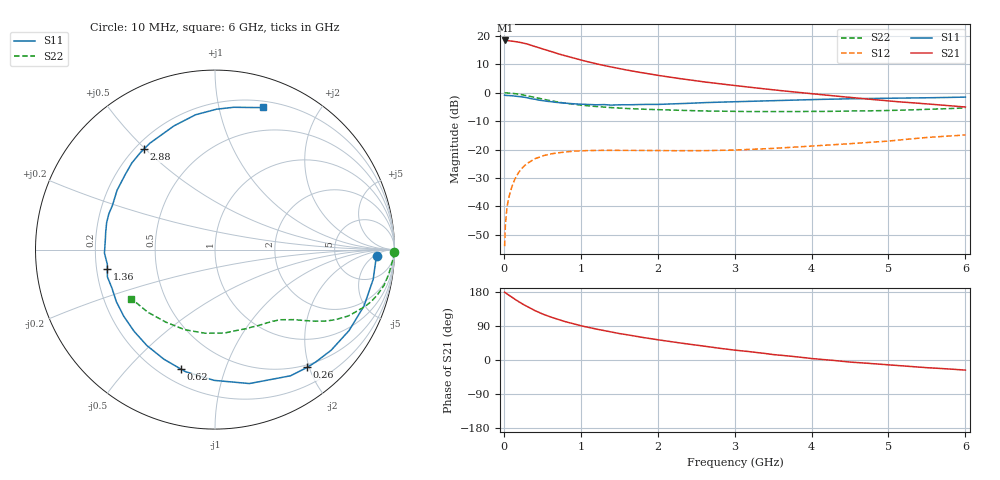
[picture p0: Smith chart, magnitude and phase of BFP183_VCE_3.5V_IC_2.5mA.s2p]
! Infineon Technologies  Discrete & RF Semiconductors
! BFP183
! VCE = 3.5 V,  IC =  2.5 mA
! Common Emitter S-Parameters:  Jan 2016
# GHz  S  MA  R  50
!  f  S11  S21  S12  S22
! GHz  MAG  ANG  MAG  ANG  MAG  ANG  MAG  ANG
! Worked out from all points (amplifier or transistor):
!   210 points, 10 MHz to 6 GHz, reference 50 ohm
!   highest |S21| = 18.4 dB at 20 MHz (marker M1)
!   |S21| within 3 dB of that: start of sweep to 506.2 MHz
!   unconditionally stable (mu >= 1): 1.977 GHz to 5.86 GHz
!   at 185 MHz: K = 0.11, MSG = 23.1 dB, |S12| = -28.4 dB
!   at 1.52 GHz: K = 0.78, MSG = 14.4 dB, |S12| = -20.3 dB
!   at 6 GHz: K = 0.96, MSG = 4.9 dB, |S12| = -14.9 dB
!   S11 on the Smith chart (normalised r, x): 10 MHz: 18, -7; 260 MHz: 0.46, -1.97; 620 MHz: 0.28, -0.72; 1.36 GHz: 0.24, -0.08; 2.88 GHz: 0.23, +0.50; 6 GHz: 0.26, +1.36
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0.01  0.9055 -2.1  8.29 178.8  0.002 85.9  0.9965 -0.8
0.02  0.8977 -4.1  8.297 177.8  0.0045 87.0  0.9967 -1.6
0.06  0.8928 -12.6  8.213 171.8  0.0133 83.9  0.9871 -4.8
0.15  0.8726 -31.1  7.923 159.5  0.0317 72.6  0.9629 -11.9
0.2  0.8562 -40.9  7.741 153.1  0.0408 67.7  0.9405 -15.4
0.26  0.8335 -51.9  7.428 145.8  0.0506 61.5  0.9082 -19.3
0.3  0.8194 -59.1  7.217 141.6  0.0565 58.0  0.8837 -21.6
0.4  0.7705 -75.6  6.549 130.7  0.0687 50.3  0.8294 -26.5
0.5  0.7286 -90.4  5.908 121.6  0.0773 43.4  0.7747 -30.3
0.62  0.6924 -105.9  5.288 112.7  0.0843 37.1  0.718 -33.7
0.7  0.6739 -114.9  4.857 107.2  0.0874 33.7  0.6855 -35.6
0.8  0.6555 -125.4  4.459 101.1  0.0907 30.1  0.6531 -37.4
1.02  0.6269 -145.5  3.694 89.6  0.0949 24.0  0.6012 -40.7
1.12  0.619 -153.6  3.44 84.9  0.0963 21.8  0.5834 -42.0
1.36  0.6097 -169.7  2.901 75.4  0.097 18.3  0.5507 -45.2
1.6  0.6128 176.4  2.503 66.6  0.0965 16.3  0.5274 -48.1
2.02  0.6231 156.0  2.005 52.9  0.0962 15.1  0.5018 -54.2
2.88  0.6863 125.1  1.399 29.1  0.0974 18.3  0.4713 -70.1
3.1  0.6981 118.8  1.292 24.1  0.0994 19.7  0.4667 -74.8
4.1  0.7622 96.4  0.932 2.2  0.1173 24.3  0.4686 -99.6
5.1  0.8019 81.3  0.698 -14.2  0.1455 25.6  0.4907 -126.7
6  0.8364 71.2  0.56 -26.6  0.1805 20.2  0.54 -149.5
